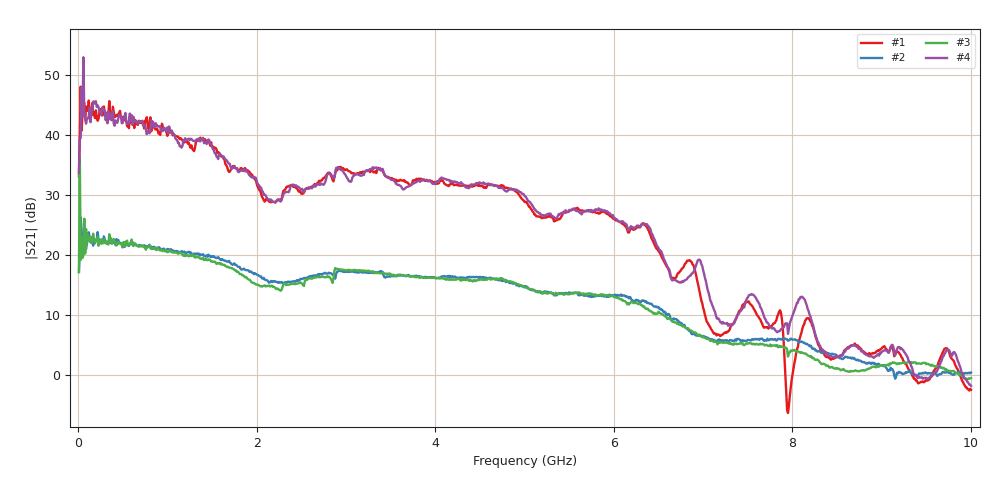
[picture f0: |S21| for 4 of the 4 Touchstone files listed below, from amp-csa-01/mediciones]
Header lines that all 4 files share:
#  HZ  S  DB  R  50.00
! Rohde & Schwarz ZVA24 2Ports - Version 3.90 - 1145.1110k24 SN: 100222
! Measurements: S11 S21 S12 S22
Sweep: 10 MHz to 10 GHz
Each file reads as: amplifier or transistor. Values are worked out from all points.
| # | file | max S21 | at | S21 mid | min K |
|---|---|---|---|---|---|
| 1 | 1.s2p | 48.1 dB | 30 MHz | 28.9 dB at 5.01 GHz | -8.99 |
| 2 | 2.s2p | 26.3 dB | 30 MHz | 14.8 dB at 5.01 GHz | -2.29 |
| 3 | 3.s2p | 36.2 dB | 20 MHz | 14.5 dB at 5.01 GHz | 0.75 |
| 4 | 4.s2p | 53.0 dB | 60 MHz | 29.8 dB at 5.01 GHz | -2.47 |
